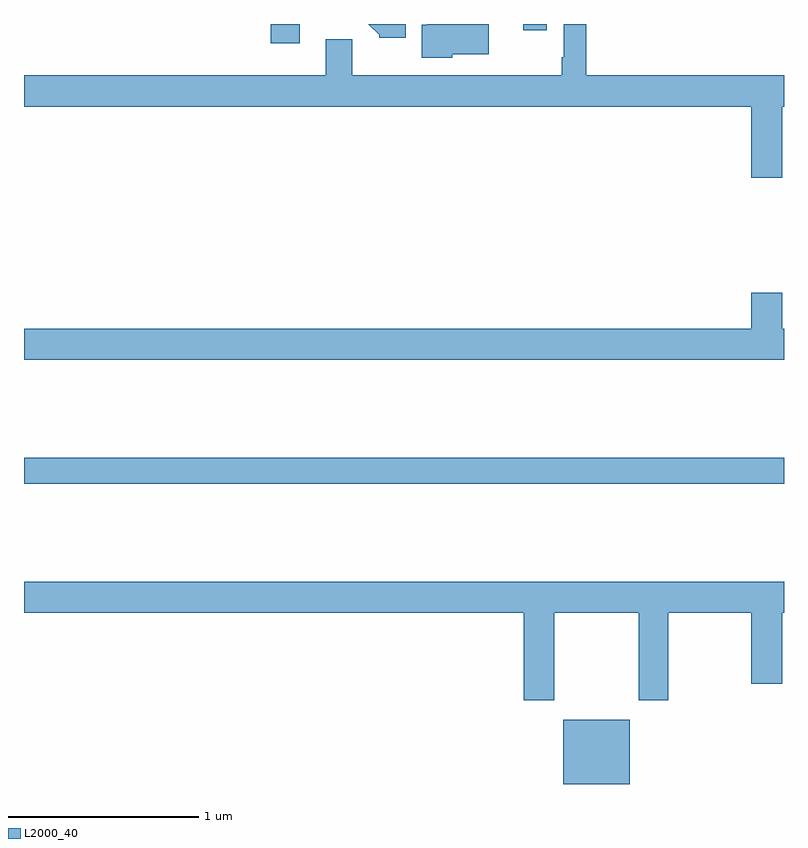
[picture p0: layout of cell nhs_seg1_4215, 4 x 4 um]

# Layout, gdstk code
import gdstk
lib = gdstk.Library(unit=1e-6, precision=1e-09)
def R(c, l, rs):  # rectangles x0, y0, x1, y1
    for r in rs: c.add(gdstk.rectangle(r[:2], r[2:], *l))
def P(c, l, *ps):  # polygons
    for p in ps: c.add(gdstk.Polygon(p, *l))
L2000_40 = (2000, 40)

nhs_seg1_4215 = lib.new_cell('nhs_seg1_4215')
R(nhs_seg1_4215, L2000_40, [(343.838,516.199,344.188,516.538), (341,517.78,345,517.916), (342.299,520.097,342.451,520.199), (343.628,520.167,343.75,520.199)])
P(nhs_seg1_4215, L2000_40, [(344.992,519.764),(345,519.764),(345,519.928),(343.958,519.928),(343.958,520.199),(343.842,520.199),(343.842,520.024),(343.83,520.024),(343.83,519.928),(342.727,519.928),(342.727,520.118),(342.587,520.118),(342.587,519.928),(341,519.928),(341,519.764),(344.828,519.764),(344.828,519.39),(344.992,519.39)],
  [(343.009,520.199),(342.813,520.199),(342.87,520.142),(342.87,520.127),(343.009,520.127)],
  [(343.254,520.04),(343.447,520.04),(343.447,520.198),(343.218,520.198),(343.218,520.199),(343.122,520.199),(343.122,520.194),(343.094,520.194),(343.094,520.022),(343.254,520.022)],
  [(345,518.596),(344.992,518.596),(344.992,518.785),(344.828,518.785),(344.828,518.596),(341,518.596),(341,518.432),(345,518.432)],
  [(343.791,517.1),(344.236,517.1),(344.236,516.639),(344.391,516.639),(344.391,517.1),(344.828,517.1),(344.828,516.726),(344.992,516.726),(344.992,517.1),(345,517.1),(345,517.264),(341,517.264),(341,517.1),(343.631,517.1),(343.631,516.639),(343.791,516.639)])

lib.write_gds('nhs_seg1_4215.gds')
